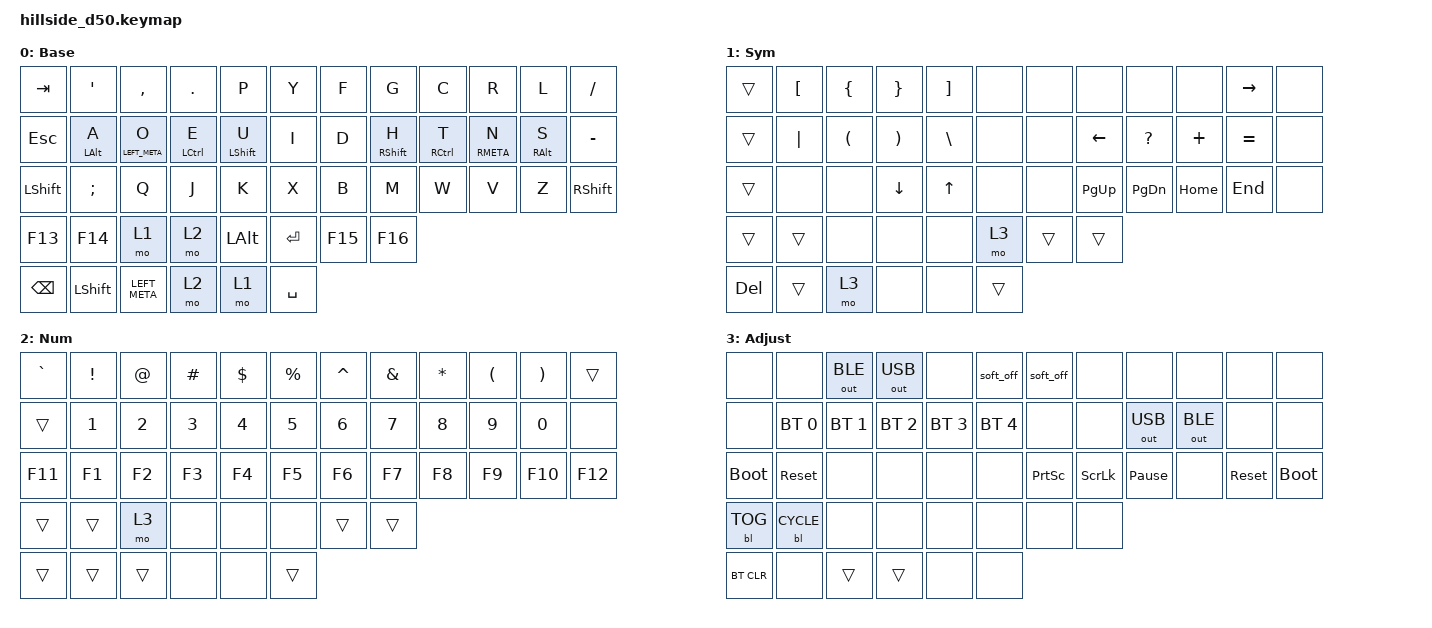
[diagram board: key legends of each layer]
// User default keymap.
// It is recommended to not edit this in boards/shields/hillside_d50/,
// but rather to copy into config/ and edit there.
// Can only use one of backlight or RGB

#include <behaviors.dtsi>
#include <dt-bindings/zmk/backlight.h>
#include <dt-bindings/zmk/bt.h>
#include <dt-bindings/zmk/keys.h>
#include <dt-bindings/zmk/outputs.h>

//#include <dt-bindings/zmk/rgb.h>

#define BASE_L   0
#define NAV_L    1
#define SYM_L    2
#define ADJ_L    3
#define Undo   LC(Z)
#define Cut    LC(X)
#define Copy   LC(C)
#define Paste  LC(V)
#define Redo   LC(Y)

/ {
    combos { compatible = "zmk,combos"; };

    behaviors {
        hml: hml {
            compatible = "zmk,behavior-hold-tap";
            label = "Homerow Mod Left";
            bindings = <&kp>, <&kp>;

            #binding-cells = <2>;
            require-prior-idle-ms = <150>;
            quick-tap-ms = <175>;
            tapping-term-ms = <280>;
            flavor = "balanced";
            hold-trigger-on-release;
            hold-trigger-key-positions = <18 30 31 32 33 34 35 23 11 6 7 8 9 10 22 21 20 19 49 41>;
        };

        hmr: hmr {
            compatible = "zmk,behavior-hold-tap";
            label = "Homerow Mod Right";
            bindings = <&kp>, <&kp>;

            #binding-cells = <2>;
            tapping-term-ms = <280>;
            require-prior-idle-ms = <150>;
            quick-tap-ms = <175>;
            flavor = "balanced";
            hold-trigger-key-positions = <0 12 24 25 26 29 27 28 1 13 14 16 15 17 5 4 3 2 44>;
            hold-trigger-on-release;
        };
    };

    keymap {
        compatible = "zmk,keymap";

        // // Build test layer, if using the bare LED.
        // // Need to also ensure normal layers don't use smart LED key codes, such as by commenting them all out.
        // // col 0         1               2                3                4              5
        //         test_layer { bindings = <
        // &kp  TAB        &kp  Q          &kp  W           &kp  E           &kp  R         &kp  T                   &kp  Y        &kp  U         &kp  I            &kp  O           &kp  P           &kp  LBKT
        // &bl  BL_TOG     &bl  BL_CYCLE   &kp  S           &ext_power EP_ON &out OUT_USB   &out OUT                 &out OUT_BLE  &out OUT_USB   &ext_power EP_ON  &kp  L           &bl  BL_CYCLE    &bl  BL_TOG
        // &kp  N0         &kp  N1         &kp  N2          &kp  N3          &kp  N4        &kp  N5                  &kp  N5       &kp  N4        &kp  N3           &kp  N2          &kp  N1          &kp  N0
        //                                 &kp  X           &kp  C             &kp  N1        &kp  N2              &kp  N2       &kp  N1          &kp  COMMA        &kp  DOT
        //                                                    &kp  N5          &kp  N4        &kp  N3              &kp  N3       &kp  N4        &kp  N5
        //                          >; };
        // // Build test layer, if using the smart RGB LEDs.
        // // Need to also ensure normal layers don't use bare LED key codes, such as by commenting them all out.
        // // col 0         1               2               3                4              5
        //         test_layer { bindings = <
        // &kp  TAB        &kp  Q          &kp  W          &kp  E           &kp  R         &kp  T                   &kp  Y        &kp  U         &kp  I            &kp  O           &kp  P           &kp  LBKT
        // &rgb_ug RGB_ON  &rgb_ug RGB_BRI &rgb_ug RGB_OFF &ext_power EP_ON &out OUT_USB   &out OUT                 &out OUT_BLE  &out OUT_USB   &ext_power EP_ON  &rgb_ug RGB_OFF  &rgb_ug RGB_BRI  &rgb_ug RGB_ON
        // &kp  N0         &kp  N1         &kp  N2         &kp  N3          &kp  N4        &kp  N5                  &kp  N5       &kp  N4        &kp  N3           &kp  N2          &kp  N1          &kp  N0
        //                                 &kp  X          &kp  C              &kp  N1       &kp  N2              &kp  N2       &kp  N1          &kp  COMMA        &kp  DOT
        //                                                   &kp  N5           &kp  N4       &kp  N3              &kp  N3       &kp  N4        &kp  N5
        //                          >; };

        default_layer {
            display-name = "Base";
            bindings = <
&kp TAB        &kp APOSTROPHE  &kp COMMA         &kp PERIOD           &kp P              &kp Y      &kp F    &kp G         &kp C         &kp R         &kp L             &kp SLASH
&kp ESC        &hml LALT A     &hml LEFT_META O  &hml LEFT_CONTROL E  &hml LEFT_SHIFT U  &kp I      &kp D    &hmr RSHFT H  &hmr RCTRL T  &hmr RMETA N  &hmr RIGHT_ALT S  &kp MINUS
&kp LSHFT      &kp SEMICOLON   &kp Q             &kp J                &kp K              &kp X      &kp B    &kp M         &kp W         &kp V         &kp Z             &kp RSHFT
&kp F13        &kp F14         &mo 1             &mo 2                &kp LEFT_ALT       &kp ENTER  &kp F15  &kp F16
&kp BACKSPACE  &kp LSHIFT      &kp LEFT_META     &mo 2                &mo 1              &kp SPACE
            >;
        };

        sym_layer {
            display-name = "Sym";
            bindings = <
&trans      &kp LEFT_BRACKET  &kp LEFT_BRACE        &kp RIGHT_BRACE        &kp RIGHT_BRACKET  &none   &none   &none        &none          &none     &kp RIGHT  &none
&trans      &kp PIPE          &kp LEFT_PARENTHESIS  &kp RIGHT_PARENTHESIS  &kp BACKSLASH      &none   &none   &kp LEFT     &kp QUESTION   &kp PLUS  &kp EQUAL  &none
&trans      &none             &none                 &kp DOWN               &kp UP             &none   &none   &kp PAGE_UP  &kp PAGE_DOWN  &kp HOME  &kp END    &none
&trans      &trans            &none                 &none                  &none              &mo 3   &trans  &trans
&kp DELETE  &trans            &mo 3                 &none                  &none              &trans
            >;
        };

        num_layer {
            display-name = "Num";
            bindings = <
&kp GRAVE  &kp EXCLAMATION  &kp AT_SIGN  &kp HASH  &kp DOLLAR  &kp PERCENT  &kp CARET  &kp AMPERSAND  &kp ASTERISK  &kp LEFT_PARENTHESIS  &kp RIGHT_PARENTHESIS  &trans
&trans     &kp N1           &kp N2       &kp N3    &kp N4      &kp N5       &kp N6     &kp N7         &kp N8        &kp N9                &kp N0                 &none
&kp F11    &kp F1           &kp F2       &kp F3    &kp F4      &kp F5       &kp F6     &kp F7         &kp F8        &kp F9                &kp F10                &kp F12
&trans     &trans           &mo 3        &none     &none       &none        &trans     &trans
&trans     &trans           &trans       &none     &none       &trans
            >;
        };

        adj_layer {
            display-name = "Adjust";
            bindings = <
&none        &none         &out OUT_BLE  &out OUT_USB  &none         &soft_off     &soft_off  &none     &none            &none         &none       &none
&none        &bt BT_SEL 0  &bt BT_SEL 1  &bt BT_SEL 2  &bt BT_SEL 3  &bt BT_SEL 4  &none      &none     &out OUT_USB     &out OUT_BLE  &none       &none
&bootloader  &sys_reset    &none         &none         &none         &none         &kp PSCRN  &kp SLCK  &kp PAUSE_BREAK  &none         &sys_reset  &bootloader
&bl BL_TOG   &bl BL_CYCLE  &none         &none         &none         &none         &none      &none
&bt BT_CLR   &none         &trans        &trans        &none         &none
            >;
        };
    };
};
